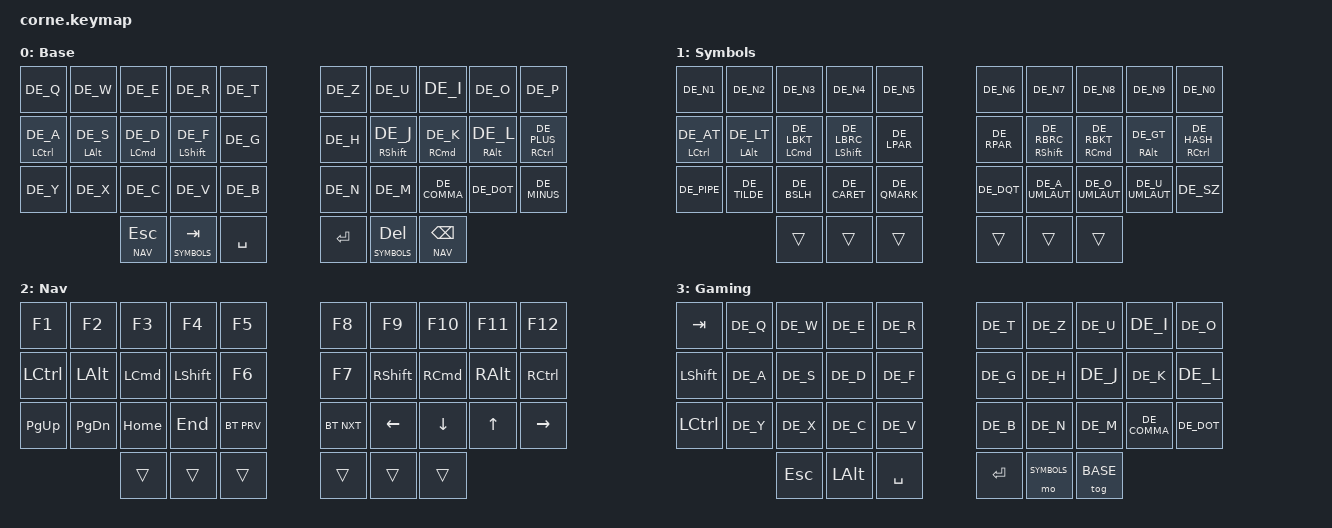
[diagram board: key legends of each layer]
/*
 * Copyright (c) 2020 The ZMK Contributors
 *
 * SPDX-License-Identifier: MIT
 */

#include <behaviors.dtsi>
#include <dt-bindings/zmk/keys.h>
#include <dt-bindings/zmk/bt.h>

#include <locale/keys_de.h>

#define BASE 0
#define SYMBOLS 1
#define NAV 2
#define GAMING 3

/ {
    chosen {
        zmk,physical-layout = &foostan_corne_5col_layout;
    };

    behaviors {
        as: auto_shift {
            compatible = "zmk,behavior-hold-tap";
            #binding-cells = <2>;
            tapping_term_ms = <200>;
            quick_tap_ms = <0>;
            flavor = "tap-preferred";
            bindings = <&kp>, <&kp>;
        };
		
		hml: home_row_mod_left {
			compatible = "zmk,behavior-hold-tap";
			#binding-cells = <2>;
			flavor = "balanced";
			require-prior-idle-ms = <150>;
			tapping-term-ms = <280>;
			quick-tap-ms = <175>;
			bindings = <&kp>, <&kp>;
			hold-trigger-key-positions = <5 6 7 8 9 15 16 17 18 19 25 26 27 28 29>; // List of keys on the right side of the keyboard
			hold-trigger-on-release;
		};
		
		hmr: home_row_mod_right {
			compatible = "zmk,behavior-hold-tap";
			#binding-cells = <2>;
			flavor = "balanced";
			require-prior-idle-ms = <150>;
			tapping-term-ms = <280>;
			quick-tap-ms = <175>;
			bindings = <&kp>, <&kp>;
			hold-trigger-key-positions = <0 1 2 3 4 10 11 12 13 14 20 21 22 23 24>; // List of keys on the left side of the keyboard
			hold-trigger-on-release;
		};
    };

	keymap {
		compatible = "zmk,keymap";

		default_layer {
			display-name = "Base";
			bindings = <
				&kp DE_Q        &kp DE_W       &kp DE_E       &kp DE_R         &kp DE_T         &kp DE_Z  &kp DE_U         &kp DE_I       &kp DE_O       &kp DE_P
				&hml LCTRL DE_A &hml LALT DE_S &hml LCMD DE_D &hml LSHIFT DE_F &kp DE_G         &kp DE_H  &hmr RSHIFT DE_J &hmr RCMD DE_K &hmr RALT DE_L &hmr RCTRL DE_PLUS
				&kp DE_Y        &kp DE_X       &kp DE_C       &kp DE_V         &kp DE_B         &kp DE_N  &kp DE_M         &kp DE_COMMA   &kp DE_DOT      &kp DE_MINUS
											   &lt NAV ESC    &lt SYMBOLS TAB  &kp SPACE        &kp ENTER &lt SYMBOLS DEL  &lt NAV BSPC
			>;
		};

		symbols_layer {
			display-name = "Symbols";
			bindings = <
				&kp DE_N1        &kp DE_N2       &kp DE_N3         &kp DE_N4           &kp DE_N5            &kp DE_N6   &kp DE_N7           &kp DE_N8         &kp DE_N9        &kp DE_N0
				&hml LCTRL DE_AT &hml LALT DE_LT &hml LCMD DE_LBKT &hml LSHIFT DE_LBRC &kp DE_LPAR          &kp DE_RPAR &hmr RSHIFT DE_RBRC &hmr RCMD DE_RBKT &hmr RALT DE_GT  &hmr RCTRL DE_HASH
				&kp DE_PIPE      &kp DE_TILDE    &kp DE_BSLH       &kp DE_CARET        &kp DE_QMARK         &kp DE_DQT  &kp DE_A_UMLAUT     &kp DE_O_UMLAUT   &kp DE_U_UMLAUT  &kp DE_SZ
											     &trans            &trans              &trans               &trans      &trans              &trans
			>;
		};

		nav_layer {
			display-name = "Nav";
			bindings = <
				&kp F1    &kp F2    &kp F3   &kp F4     &kp F5            &kp F8     &kp F9     &kp F10   &kp F11   &kp F12
				&kp LCTRL &kp LALT  &kp LCMD &kp LSHIFT &kp F6            &kp F7     &kp RSHIFT &kp RCMD  &kp RALT  &kp RCTRL
				&kp PG_UP &kp PG_DN &kp HOME &kp END    &bt BT_PRV        &bt BT_NXT &kp LEFT   &kp DOWN  &kp UP    &kp RIGHT
									&trans   &trans     &trans            &trans     &trans     &trans
			>;
		};

		gaming_layer {
			display-name = "Gaming";
			bindings = <
				&kp TAB    &kp DE_Q &kp DE_W &kp DE_E &kp DE_R         &kp DE_T  &kp DE_Z    &kp DE_U  &kp DE_I   &kp DE_O
				&kp LSHIFT &kp DE_A &kp DE_S &kp DE_D &kp DE_F         &kp DE_G  &kp DE_H    &kp DE_J  &kp DE_K   &kp DE_L
				&kp LCTRL  &kp DE_Y &kp DE_X &kp DE_C &kp DE_V         &kp DE_B  &kp DE_N    &kp DE_M  &kp DE_COMMA &kp DE_DOT
    								&kp ESC  &kp LALT &kp SPACE        &kp ENTER &mo SYMBOLS &tog BASE
			>;
		};
		
		extra_1 {
				status = "reserved";
		};

		extra_2 {
				status = "reserved";
		};

		extra_3 {
				status = "reserved";
		};
	};

	combos {
		compatible = "zmk,combos";
		
		combo_gaming {
			timeout-ms = <50>;
			key-positions = <30 35>;
			bindings = <&tog GAMING>;
		};
	};
};
